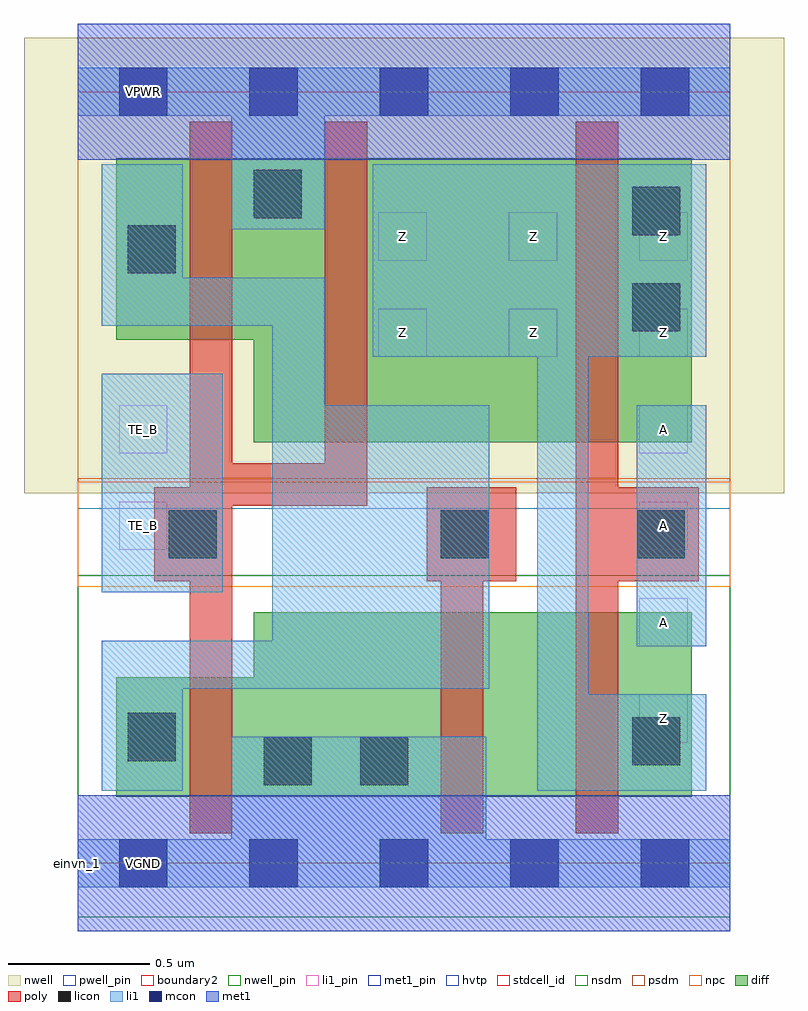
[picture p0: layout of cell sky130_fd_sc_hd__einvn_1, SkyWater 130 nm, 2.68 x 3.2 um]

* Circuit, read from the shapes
.subckt sky130_fd_sc_hd__einvn_1 A TE_B VGND VNB VPB VPWR Z
XM1 VGND TE_B n1 VNB sky130_fd_pr__nfet_01v8 w=0.42 l=0.15
XM2 n2 n1 VGND VNB sky130_fd_pr__nfet_01v8 w=0.65 l=0.15
XM3 Z A n2 VNB sky130_fd_pr__nfet_01v8 w=0.65 l=0.15
XM4 VPWR TE_B n1 VPB sky130_fd_pr__pfet_01v8_hvt w=0.64 l=0.15
XM5 n3 TE_B VPWR VPB sky130_fd_pr__pfet_01v8_hvt w=1 l=0.15
XM6 Z A n3 VPB sky130_fd_pr__pfet_01v8_hvt w=1 l=0.15
.ends

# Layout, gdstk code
import gdstk
lib = gdstk.Library(unit=1e-6, precision=1e-09)
def R(c, l, rs):  # rectangles x0, y0, x1, y1
    for r in rs: c.add(gdstk.rectangle(r[:2], r[2:], *l))
def A(c, l, x, y, w, h, nx, ny, dx, dy):  # array of equal rectangles
    R(c, l, [(x+i*dx, y+j*dy, x+i*dx+w, y+j*dy+h) for i in range(nx) for j in range(ny)])
def P(c, l, *ps):  # polygons
    for p in ps: c.add(gdstk.Polygon(p, *l))
nwell_pin = (64, 16)
nwell = (64, 20)
diff = (65, 20)
poly = (66, 20)
licon = (66, 44)
li1_pin = (67, 16)
li1 = (67, 20)
mcon = (67, 44)
met1_pin = (68, 16)
met1 = (68, 20)
hvtp = (78, 44)
stdcell_id = (81, 4)
nsdm = (93, 44)
psdm = (94, 20)
npc = (95, 20)
pwell_pin = (122, 16)
boundary2 = (236, 0)

sky130_fd_sc_hd__einvn_1 = lib.new_cell('sky130_fd_sc_hd__einvn_1')
R(sky130_fd_sc_hd__einvn_1, nwell_pin, [(0.145,2.635,0.315,2.805)])
R(sky130_fd_sc_hd__einvn_1, nwell, [(-0.19,1.305,2.49,2.91)])
P(sky130_fd_sc_hd__einvn_1, diff, [(2.165,2.485),(0.135,2.485),(0.135,1.845),(0.62,1.845),(0.62,1.485),(2.165,1.485)],
  [(2.165,0.885),(0.62,0.885),(0.62,0.655),(0.135,0.655),(0.135,0.235),(2.165,0.235)])
P(sky130_fd_sc_hd__einvn_1, poly, [(1.545,1.325),(1.23,1.325),(1.23,0.995),(1.28,0.995),(1.28,0.105),(1.43,0.105),(1.43,0.995),(1.545,0.995)],
  [(2.19,1.325),(1.905,1.325),(1.905,2.615),(1.755,2.615),(1.755,0.105),(1.905,0.105),(1.905,0.995),(2.19,0.995)],
  [(1.02,2.615),(0.87,2.615),(0.87,1.41),(0.545,1.41),(0.545,2.615),(0.395,2.615),(0.395,1.325),(0.27,1.325),(0.27,0.995),(0.395,0.995),(0.395,0.105),(0.545,0.105),(0.545,1.26),(1.02,1.26)])
R(sky130_fd_sc_hd__einvn_1, licon, [(0.655,0.275,0.825,0.445), (0.995,0.275,1.165,0.445), (1.955,0.345,2.125,0.515), (0.175,0.36,0.345,0.53), (0.32,1.075,0.49,1.245), (1.28,1.075,1.45,1.245), (1.97,1.075,2.14,1.245), (1.955,1.875,2.125,2.045), (0.175,2.08,0.345,2.25), (1.955,2.215,2.125,2.385), (0.62,2.275,0.79,2.445)])
A(sky130_fd_sc_hd__einvn_1, li1_pin, 1.98, 0.425, 0.17, 0.17, 1, 4, 0, 0.34)
A(sky130_fd_sc_hd__einvn_1, li1_pin, 1.06, 1.785, 0.17, 0.17, 3, 2, 0.46, 0.34)
R(sky130_fd_sc_hd__einvn_1, li1_pin, [(0.145,1.105,0.315,1.275), (0.145,1.445,0.315,1.615)])
R(sky130_fd_sc_hd__einvn_1, li1, [(1.97,0.765,2.215,1.615), (0.085,0.955,0.51,1.725)])
P(sky130_fd_sc_hd__einvn_1, li1, [(2.3,2.805),(0,2.805),(0,2.635),(0.54,2.635),(0.54,2.235),(0.87,2.235),(0.87,2.635),(2.3,2.635)],
  [(1.45,1.615),(0.87,1.615),(0.87,2.065),(0.37,2.065),(0.37,2.465),(0.085,2.465),(0.085,1.895),(0.685,1.895),(0.685,0.785),(0.085,0.785),(0.085,0.255),(0.37,0.255),(0.37,0.615),(1.45,0.615)],
  [(2.215,0.595),(1.8,0.595),(1.8,1.785),(2.215,1.785),(2.215,2.465),(1.04,2.465),(1.04,1.785),(1.62,1.785),(1.62,0.255),(2.215,0.255)],
  [(2.3,0.085),(1.44,0.085),(1.44,0.445),(0.54,0.445),(0.54,0.085),(0,0.085),(0,-0.085),(2.3,-0.085)])
A(sky130_fd_sc_hd__einvn_1, mcon, 0.145, -0.085, 0.17, 0.17, 5, 2, 0.46, 2.72)
R(sky130_fd_sc_hd__einvn_1, met1_pin, [(0.145,-0.085,0.315,0.085), (0.145,2.635,0.315,2.805)])
R(sky130_fd_sc_hd__einvn_1, hvtp, [(0,1.25,2.3,2.72)])
R(sky130_fd_sc_hd__einvn_1, stdcell_id, [(0,0,2.3,2.72)])
R(sky130_fd_sc_hd__einvn_1, nsdm, [(0,-0.19,2.3,1.015)])
R(sky130_fd_sc_hd__einvn_1, psdm, [(0,1.355,2.3,2.91)])
R(sky130_fd_sc_hd__einvn_1, npc, [(0,0.975,2.3,1.345)])
R(sky130_fd_sc_hd__einvn_1, pwell_pin, [(0.145,-0.085,0.315,0.085)])
R(sky130_fd_sc_hd__einvn_1, boundary2, [(0,0,2.3,2.72)])
sky130_fd_sc_hd__einvn_1.add(gdstk.FlexPath([(0,2.72),(2.3,2.72)], 0.48, ends="flush", simple_path=True, layer=68, datatype=20))  # met1
sky130_fd_sc_hd__einvn_1.add(gdstk.FlexPath([(0,0),(2.3,0)], 0.48, ends="flush", simple_path=True, layer=68, datatype=20))  # met1
sky130_fd_sc_hd__einvn_1.add(gdstk.Label('Z', (1.145,1.87), layer=67, texttype=5))
sky130_fd_sc_hd__einvn_1.add(gdstk.Label('Z', (1.145,2.21), layer=67, texttype=5))
sky130_fd_sc_hd__einvn_1.add(gdstk.Label('Z', (1.605,1.87), layer=67, texttype=5))
sky130_fd_sc_hd__einvn_1.add(gdstk.Label('Z', (1.605,2.21), layer=67, texttype=5))
sky130_fd_sc_hd__einvn_1.add(gdstk.Label('Z', (2.065,2.21), layer=67, texttype=5))
sky130_fd_sc_hd__einvn_1.add(gdstk.Label('Z', (2.065,1.87), layer=67, texttype=5))
sky130_fd_sc_hd__einvn_1.add(gdstk.Label('Z', (2.065,0.51), layer=67, texttype=5))
sky130_fd_sc_hd__einvn_1.add(gdstk.Label('A', (2.065,0.85), layer=67, texttype=5))
sky130_fd_sc_hd__einvn_1.add(gdstk.Label('A', (2.065,1.19), layer=67, texttype=5))
sky130_fd_sc_hd__einvn_1.add(gdstk.Label('A', (2.065,1.53), layer=67, texttype=5))
sky130_fd_sc_hd__einvn_1.add(gdstk.Label('TE_B', (0.23,1.53), layer=67, texttype=5))
sky130_fd_sc_hd__einvn_1.add(gdstk.Label('TE_B', (0.23,1.19), layer=67, texttype=5))
sky130_fd_sc_hd__einvn_1.add(gdstk.Label('VGND', (0.23,0), layer=68, texttype=5))
sky130_fd_sc_hd__einvn_1.add(gdstk.Label('VPWR', (0.23,2.72), layer=68, texttype=5))
sky130_fd_sc_hd__einvn_1.add(gdstk.Label('VPB', (0.23,2.72), layer=64, texttype=5))
sky130_fd_sc_hd__einvn_1.add(gdstk.Label('VNB', (0.23,0), layer=64, texttype=59))
sky130_fd_sc_hd__einvn_1.add(gdstk.Label('einvn_1', (0,0), layer=83, texttype=44))

lib.write_gds('sky130_fd_sc_hd__einvn_1.gds')
